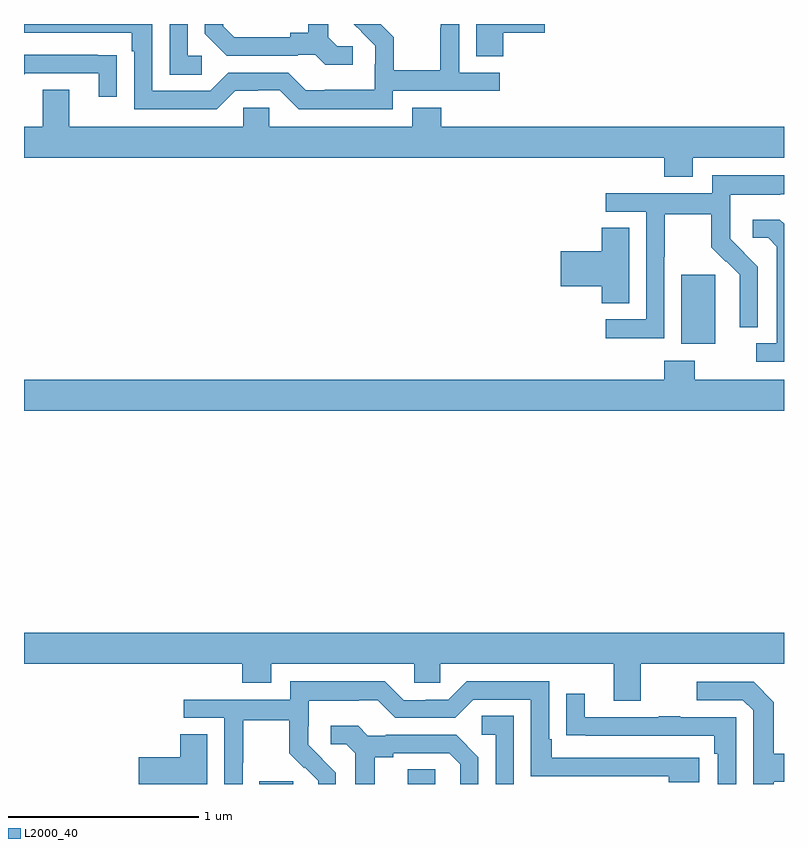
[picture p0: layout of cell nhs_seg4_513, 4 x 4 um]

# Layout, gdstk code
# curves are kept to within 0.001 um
import gdstk
lib = gdstk.Library(unit=1e-6, precision=1e-09)
def R(c, l, rs):  # rectangles x0, y0, x1, y1
    for r in rs: c.add(gdstk.rectangle(r[:2], r[2:], *l))
def P(c, l, *ps):  # polygons
    for p in ps: c.add(gdstk.Polygon(p, *l))
L2000_40 = (2000, 40)

nhs_seg4_513 = lib.new_cell('nhs_seg4_513')
R(nhs_seg4_513, L2000_40, [(138.239,750.9,138.418,750.915), (139.019,750.9,139.164,750.977), (140.459,753.218,140.638,753.579)])
P(nhs_seg4_513, L2000_40, [(139.523,754.853),(139.741,754.853),(139.741,754.9),(139.379,754.9),(139.379,754.729),(139.523,754.729)],
  [(138.73,754.782),(138.648,754.782),(138.601,754.829),(138.601,754.9),(138.497,754.9),(138.497,754.853),(138.401,754.853),(138.401,754.83),(138.106,754.83),(138.049,754.887),(138.049,754.9),(137.952,754.9),(137.952,754.85),(138.068,754.734),(138.44,754.734),(138.44,754.737),(138.534,754.737),(138.586,754.685),(138.73,754.685)],
  [(137.935,754.734),(137.862,754.734),(137.862,754.9),(137.766,754.9),(137.766,754.633),(137.935,754.633)],
  [(138.942,754.548),(139.504,754.548),(139.504,754.644),(139.29,754.644),(139.29,754.9),(139.194,754.9),(139.194,754.88),(139.192,754.88),(139.192,754.657),(138.947,754.657),(138.947,754.831),(138.878,754.9),(138.736,754.9),(138.848,754.786),(138.848,754.689),(138.846,754.689),(138.846,754.555),(138.583,754.555),(138.583,754.551),(138.483,754.551),(138.39,754.644),(138.075,754.644),(137.979,754.548),(137.676,754.548),(137.676,754.9),(137,754.9),(137,754.854),(137.567,754.854),(137.567,754.757),(137.58,754.757),(137.58,754.452),(138.015,754.452),(138.111,754.548),(138.23,754.548),(138.23,754.551),(138.345,754.551),(138.445,754.451),(138.942,754.451)],
  [(137.489,754.736),(137.387,754.736),(137.387,754.737),(137,754.737),(137,754.636),(137.003,754.636),(137.003,754.641),(137.393,754.641),(137.393,754.518),(137.489,754.518)],
  [(140.521,754.196),(141,754.196),(141,754.36),(139.196,754.36),(139.196,754.459),(139.043,754.459),(139.043,754.36),(138.291,754.36),(138.291,754.458),(138.153,754.458),(138.153,754.36),(137.239,754.36),(137.239,754.555),(137.099,754.555),(137.099,754.36),(137,754.36),(137,754.196),(140.369,754.196),(140.369,754.097),(140.521,754.097)],
  [(140.274,753.912),(140.274,753.345),(140.061,753.345),(140.061,753.247),(140.37,753.247),(140.37,753.676),(140.373,753.676),(140.373,753.9),(140.617,753.9),(140.617,753.725),(140.694,753.648),(140.697,753.651),(140.768,753.581),(140.768,753.458),(140.766,753.458),(140.766,753.304),(140.862,753.304),(140.862,753.622),(140.716,753.77),(140.716,753.867),(140.718,753.867),(140.718,754.001),(140.981,754.001),(140.981,754.005),(141,754.005),(141,754.105),(140.622,754.105),(140.622,754.008),(140.061,754.008),(140.061,753.912)],
  [(141,753.849),(140.978,753.871),(140.835,753.871),(140.835,753.774),(140.916,753.774),(140.963,753.727),(140.963,753.219),(140.853,753.219),(140.853,753.123),(141,753.123)],
  [(140.185,753.827),(140.042,753.827),(140.042,753.704),(139.824,753.704),(139.824,753.521),(140.042,753.521),(140.042,753.43),(140.185,753.43)],
  [(141,753.028),(140.529,753.028),(140.529,753.127),(140.369,753.127),(140.369,753.028),(137,753.028),(137,752.864),(141,752.864)],
  [(140.245,751.532),(141,751.532),(141,751.696),(137,751.696),(137,751.532),(138.149,751.532),(138.149,751.433),(138.301,751.433),(138.301,751.532),(139.053,751.532),(139.053,751.434),(139.191,751.434),(139.191,751.532),(140.105,751.532),(140.105,751.338),(140.245,751.338)],
  [(138.15,751.012),(138.153,751.012),(138.153,751.236),(138.397,751.236),(138.397,751.061),(138.474,750.984),(138.477,750.987),(138.548,750.917),(138.548,750.9),(138.642,750.9),(138.642,750.958),(138.496,751.106),(138.496,751.203),(138.498,751.203),(138.498,751.337),(138.761,751.337),(138.761,751.341),(138.861,751.341),(138.954,751.248),(139.269,751.248),(139.365,751.344),(139.668,751.344),(139.668,750.942),(140.393,750.942),(140.393,750.908),(140.554,750.908),(140.554,751.038),(139.777,751.038),(139.777,751.135),(139.764,751.135),(139.764,751.44),(139.329,751.44),(139.233,751.344),(139.115,751.344),(139.115,751.341),(138.999,751.341),(138.899,751.441),(138.402,751.441),(138.402,751.344),(137.841,751.344),(137.841,751.248),(138.054,751.248),(138.054,750.9),(138.15,750.9)],
  [(140.947,750.911),(141,750.911),(141,751.059),(140.947,751.059),(140.947,751.331),(140.841,751.437),(140.541,751.437),(140.541,751.341),(140.784,751.341),(140.838,751.287),(140.838,750.9),(140.947,750.9)],
  [(140.748,751.251),(140.453,751.251),(140.453,751.256),(140.341,751.256),(140.341,751.251),(139.951,751.251),(139.951,751.375),(139.855,751.375),(139.855,751.156),(139.957,751.156),(139.957,751.155),(140.632,751.155),(140.632,751.058),(140.652,751.058),(140.652,750.9),(140.748,750.9)],
  [(139.578,751.259),(139.41,751.259),(139.41,751.158),(139.482,751.158),(139.482,750.9),(139.578,750.9)],
  [(138.847,751.04),(138.943,751.04),(138.943,751.062),(139.238,751.062),(139.295,751.005),(139.295,750.9),(139.392,750.9),(139.392,751.042),(139.276,751.158),(138.904,751.158),(138.904,751.155),(138.81,751.155),(138.758,751.207),(138.615,751.207),(138.615,751.11),(138.696,751.11),(138.743,751.063),(138.743,750.9),(138.847,750.9)],
  [(137.965,751.163),(137.822,751.163),(137.822,751.04),(137.604,751.04),(137.604,750.9),(137.965,750.9)])

lib.write_gds('nhs_seg4_513.gds')
